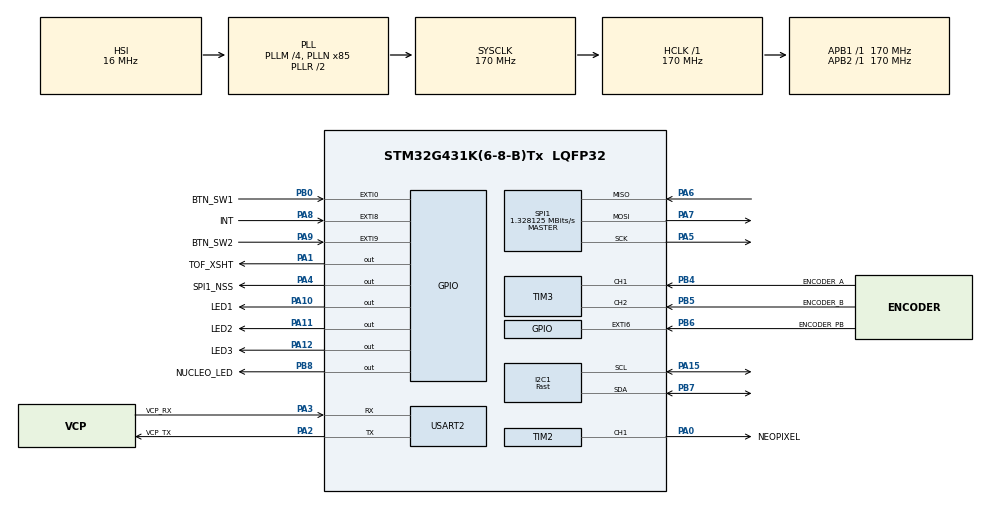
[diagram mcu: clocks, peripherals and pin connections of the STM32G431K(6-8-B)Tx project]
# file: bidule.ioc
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Dma.Request0=TIM2_CH1
Dma.TIM2_CH1.0.Direction=DMA_MEMORY_TO_PERIPH
Dma.TIM2_CH1.0.EventEnable=DISABLE
Dma.TIM2_CH1.0.Instance=DMA1_Channel1
Dma.TIM2_CH1.0.MemDataAlignment=DMA_MDATAALIGN_BYTE
Dma.TIM2_CH1.0.MemInc=DMA_MINC_ENABLE
Dma.TIM2_CH1.0.Mode=DMA_CIRCULAR
Dma.TIM2_CH1.0.PeriphDataAlignment=DMA_PDATAALIGN_WORD
Dma.TIM2_CH1.0.PeriphInc=DMA_PINC_DISABLE
Dma.TIM2_CH1.0.Polarity=HAL_DMAMUX_REQ_GEN_RISING
Dma.TIM2_CH1.0.Priority=DMA_PRIORITY_LOW
Dma.TIM2_CH1.0.RequestNumber=1
Dma.TIM2_CH1.0.SignalID=NONE
Dma.TIM2_CH1.0.SyncEnable=DISABLE
Dma.TIM2_CH1.0.SyncPolarity=HAL_DMAMUX_SYNC_NO_EVENT
Dma.TIM2_CH1.0.SyncRequestNumber=1
Dma.TIM2_CH1.0.SyncSignalID=NONE
FREERTOS.Tasks01=defaultTask,0,128,StartDefaultTask,Default,NULL,Dynamic,NULL,NULL
I2C1.I2C_Speed_Mode=I2C_Fast
I2C1.Timing=0x40621236
Mcu.Family=STM32G4
Mcu.Name=STM32G431K(6-8-B)Tx
Mcu.Package=LQFP32
NVIC.DMA1_Channel1_IRQn=true\:5\:0\:false\:false\:true\:true\:false\:true\:true
NVIC.EXTI0_IRQn=true\:5\:0\:false\:false\:true\:true\:true\:true\:true
NVIC.EXTI9_5_IRQn=true\:5\:0\:false\:false\:true\:true\:true\:true\:true
NVIC.I2C1_ER_IRQn=true\:5\:0\:false\:false\:true\:true\:true\:true\:true
NVIC.I2C1_EV_IRQn=true\:5\:0\:false\:false\:true\:true\:true\:true\:true
NVIC.PriorityGroup=NVIC_PRIORITYGROUP_4
NVIC.TIM2_IRQn=true\:5\:0\:false\:false\:true\:true\:true\:true\:true
NVIC.TIM6_DAC_IRQn=true\:15\:0\:false\:false\:true\:false\:false\:true\:true
NVIC.TimeBase=TIM6_DAC_IRQn
NVIC.TimeBaseIP=TIM6
PA0.GPIO_Label=NEOPIXEL
PA0.Signal=S_TIM2_CH1
PA1.GPIO_Label=TOF_XSHT
PA1.Signal=GPIO_Output
PA10.GPIO_Label=LED1
PA10.Signal=GPIO_Output
PA11.GPIO_Label=LED2
PA11.Signal=GPIO_Output
PA12.GPIO_Label=LED3
PA12.Signal=GPIO_Output
PA13.GPIO_Label=T_SWDIO
PA13.Mode=Trace_Asynchronous_SW
PA13.Signal=SYS_JTMS-SWDIO
PA14.GPIO_Label=T_SWCLK
PA14.Mode=Trace_Asynchronous_SW
PA14.Signal=SYS_JTCK-SWCLK
PA15.GPIO_Pu=GPIO_PULLUP
PA15.Mode=I2C
PA15.Signal=I2C1_SCL
PA2.GPIO_Label=VCP_TX
PA2.Mode=Asynchronous
PA2.Signal=USART2_TX
PA3.GPIO_Label=VCP_RX
PA3.Mode=Asynchronous
PA3.Signal=USART2_RX
PA4.GPIO_Label=SPI1_NSS
PA4.PinState=GPIO_PIN_SET
PA4.Signal=GPIO_Output
PA5.GPIO_Speed=GPIO_SPEED_FREQ_LOW
PA5.Mode=Full_Duplex_Master
PA5.Signal=SPI1_SCK
PA6.GPIO_Speed=GPIO_SPEED_FREQ_LOW
PA6.Mode=Full_Duplex_Master
PA6.Signal=SPI1_MISO
PA7.GPIO_Speed=GPIO_SPEED_FREQ_LOW
PA7.Mode=Full_Duplex_Master
PA7.Signal=SPI1_MOSI
PA8.GPIO_Label=INT
PA8.Signal=GPXTI8
PA9.GPIO_Label=BTN_SW2
PA9.GPIO_ModeDefaultEXTI=GPIO_MODE_IT_FALLING
PA9.GPIO_PuPd=GPIO_PULLUP
PA9.Signal=GPXTI9
PB0.GPIO_Label=BTN_SW1
PB0.GPIO_ModeDefaultEXTI=GPIO_MODE_IT_FALLING
PB0.GPIO_PuPd=GPIO_PULLUP
PB0.Signal=GPXTI0
PB3.GPIO_Label=T_SWO
PB3.Mode=Trace_Asynchronous_SW
PB3.Signal=SYS_JTDO-SWO
PB4.GPIO_Label=ENCODER_A
PB4.GPIO_PuPd=GPIO_PULLUP
PB4.Signal=S_TIM3_CH1
PB5.GPIO_Label=ENCODER_B
PB5.GPIO_PuPd=GPIO_PULLUP
PB5.Signal=S_TIM3_CH2
PB6.GPIO_Label=ENCODER_PB
PB6.GPIO_PuPd=GPIO_PULLUP
PB6.Signal=GPXTI6
PB7.GPIO_Pu=GPIO_PULLUP
PB7.Mode=I2C
PB7.Signal=I2C1_SDA
PB8-BOOT0.GPIO_Label=NUCLEO_LED
PB8-BOOT0.Signal=GPIO_Output
ProjectManager.HeapSize=0x200
ProjectManager.StackSize=0x400
ProjectManager.TargetToolchain=CMake
RCC.ADC12Freq_Value=170000000
RCC.AHBFreq_Value=170000000
RCC.APB1Freq_Value=170000000
RCC.APB1TimFreq_Value=170000000
RCC.APB2Freq_Value=170000000
RCC.APB2TimFreq_Value=170000000
RCC.CortexFreq_Value=170000000
RCC.EXTERNAL_CLOCK_VALUE=12288000
RCC.HCLKFreq_Value=170000000
RCC.HSE_VALUE=8000000
RCC.HSI48_VALUE=48000000
RCC.HSI_VALUE=16000000
RCC.LSE_VALUE=32768
RCC.PLLM=RCC_PLLM_DIV4
RCC.PLLN=85
RCC.SYSCLKFreq_VALUE=170000000
RCC.SYSCLKSource=RCC_SYSCLKSOURCE_PLLCLK
RCC.USBFreq_Value=170000000
RCC.VCOOutputFreq_Value=340000000
SH.S_TIM2_CH1.0=TIM2_CH1,PWM Generation1 CH1
SH.S_TIM3_CH1.0=TIM3_CH1,Encoder_Interface
SH.S_TIM3_CH2.0=TIM3_CH2,Encoder_Interface
SPI1.BaudRatePrescaler=SPI_BAUDRATEPRESCALER_128
SPI1.CLKPhase=SPI_PHASE_2EDGE
SPI1.CLKPolarity=SPI_POLARITY_HIGH
SPI1.CalculateBaudRate=1.328125 MBits/s
SPI1.DataSize=SPI_DATASIZE_8BIT
SPI1.Direction=SPI_DIRECTION_2LINES
SPI1.Mode=SPI_MODE_MASTER
SPI1.VirtualType=VM_MASTER
TIM2.Channel-PWM\ Generation1\ CH1=TIM_CHANNEL_1
TIM2.PeriodNoDither=212
USART2.VirtualMode-Asynchronous=VM_ASYNC
VP_FREERTOS_VS_CMSIS_V1.Mode=CMSIS_V1
VP_SYS_VS_DBSignals.Mode=DisableDeadBatterySignals
VP_SYS_VS_tim6.Mode=TIM6
board=NUCLEO-G431KB

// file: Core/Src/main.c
/* USER CODE BEGIN Header */
/**
 ******************************************************************************
 * @file           : main.c
 * @brief          : Main program body
 ******************************************************************************
 * @attention
 *
 * Copyright (c) 2026 STMicroelectronics.
 * All rights reserved.
 *
 * This software is licensed under terms that can be found in the LICENSE file
 * in the root directory of this software component.
 * If no LICENSE file comes with this software, it is provided AS-IS.
 *
 ******************************************************************************
 */
/* USER CODE END Header */
#include "main.h"
#include "cmsis_os.h"
#include "dma.h"
#include "i2c.h"
#include "spi.h"
#include "tim.h"
#include "usart.h"
#include "gpio.h"

/* USER CODE BEGIN Includes */
#include <stdio.h>
#include <stdbool.h>
#include "bsp.h"
#include "app.h"
/* USER CODE END Includes */

/* USER CODE BEGIN PM */
#define LED_BLINK_PERIOD 250
/* USER CODE END PM */

void SystemClock_Config(void);
void MX_FREERTOS_Init(void);

/* USER CODE BEGIN 0 */
int _write(int file, char *ptr, int len) {
	HAL_UART_Transmit(&huart2, (uint8_t *)ptr, len, HAL_MAX_DELAY);
	return len;
}

void task_bsp(void * unused) {
	for(;;) {
		bsp_process();
		vTaskDelay(pdMS_TO_TICKS(5));
	}
}

void task_app(void * unused) {
	for (;;) {
		app_process();
	}
}
/* USER CODE END 0 */

int main(void)
{

	/* MCU Configuration--------------------------------------------------------*/

	/* Reset of all peripherals, Initializes the Flash interface and the Systick. */
	HAL_Init();

	/* Configure the system clock */
	SystemClock_Config();

	/* Initialize all configured peripherals */
	MX_GPIO_Init();
	MX_DMA_Init();
	MX_I2C1_Init();
	MX_TIM3_Init();
	MX_TIM2_Init();
	MX_USART2_UART_Init();
	MX_SPI1_Init();
	/* USER CODE BEGIN 2 */
	printf("\r\n===== TD1 RTOS =====\r\n");

	bsp_init();
	app_init();

	if (xTaskCreate(task_bsp, "BSP", 256, NULL, 2, NULL) != pdPASS) {
		printf("Failed creating task BSP\r\n");
		Error_Handler();
	}
	if (xTaskCreate(task_app, "APP", 256, NULL, 1, NULL) != pdPASS) {
		printf("Failed creating task APP\r\n");
		Error_Handler();
	}

	printf("... All tasks are created\r\n");

	vTaskStartScheduler();
	/* USER CODE END 2 */

	/* Call init function for freertos objects (in cmsis_os2.c) */
	MX_FREERTOS_Init();

	/* Start scheduler */
	osKernelStart();

	/* We should never get here as control is now taken by the scheduler */

	/* Infinite loop */
	while (1) {

	}
}

void SystemClock_Config(void)
{
	RCC_OscInitTypeDef RCC_OscInitStruct = {0};
	RCC_ClkInitTypeDef RCC_ClkInitStruct = {0};

	/** Configure the main internal regulator output voltage
	 */
	HAL_PWREx_ControlVoltageScaling(PWR_REGULATOR_VOLTAGE_SCALE1_BOOST);

	/** Initializes the RCC Oscillators according to the specified parameters
	 * in the RCC_OscInitTypeDef structure.
	 */
	RCC_OscInitStruct.OscillatorType = RCC_OSCILLATORTYPE_HSI;
	RCC_OscInitStruct.HSIState = RCC_HSI_ON;
	RCC_OscInitStruct.HSICalibrationValue = RCC_HSICALIBRATION_DEFAULT;
	RCC_OscInitStruct.PLL.PLLState = RCC_PLL_ON;
	RCC_OscInitStruct.PLL.PLLSource = RCC_PLLSOURCE_HSI;
	RCC_OscInitStruct.PLL.PLLM = RCC_PLLM_DIV4;
	RCC_OscInitStruct.PLL.PLLN = 85;
	RCC_OscInitStruct.PLL.PLLP = RCC_PLLP_DIV2;
	RCC_OscInitStruct.PLL.PLLQ = RCC_PLLQ_DIV2;
	RCC_OscInitStruct.PLL.PLLR = RCC_PLLR_DIV2;
	if (HAL_RCC_OscConfig(&RCC_OscInitStruct) != HAL_OK)
	{
		Error_Handler();
	}

	/** Initializes the CPU, AHB and APB buses clocks
	 */
	RCC_ClkInitStruct.ClockType = RCC_CLOCKTYPE_HCLK|RCC_CLOCKTYPE_SYSCLK
			|RCC_CLOCKTYPE_PCLK1|RCC_CLOCKTYPE_PCLK2;
	RCC_ClkInitStruct.SYSCLKSource = RCC_SYSCLKSOURCE_PLLCLK;
	RCC_ClkInitStruct.AHBCLKDivider = RCC_SYSCLK_DIV1;
	RCC_ClkInitStruct.APB1CLKDivider = RCC_HCLK_DIV1;
	RCC_ClkInitStruct.APB2CLKDivider = RCC_HCLK_DIV1;

	if (HAL_RCC_ClockConfig(&RCC_ClkInitStruct, FLASH_LATENCY_4) != HAL_OK)
	{
		Error_Handler();
	}
}

void HAL_TIM_PeriodElapsedCallback(TIM_HandleTypeDef *htim)
{
	if (htim->Instance == TIM6)
	{
		HAL_IncTick();
	}
}

void Error_Handler(void)
{
	__disable_irq();
	while (1)
	{
	}
}
